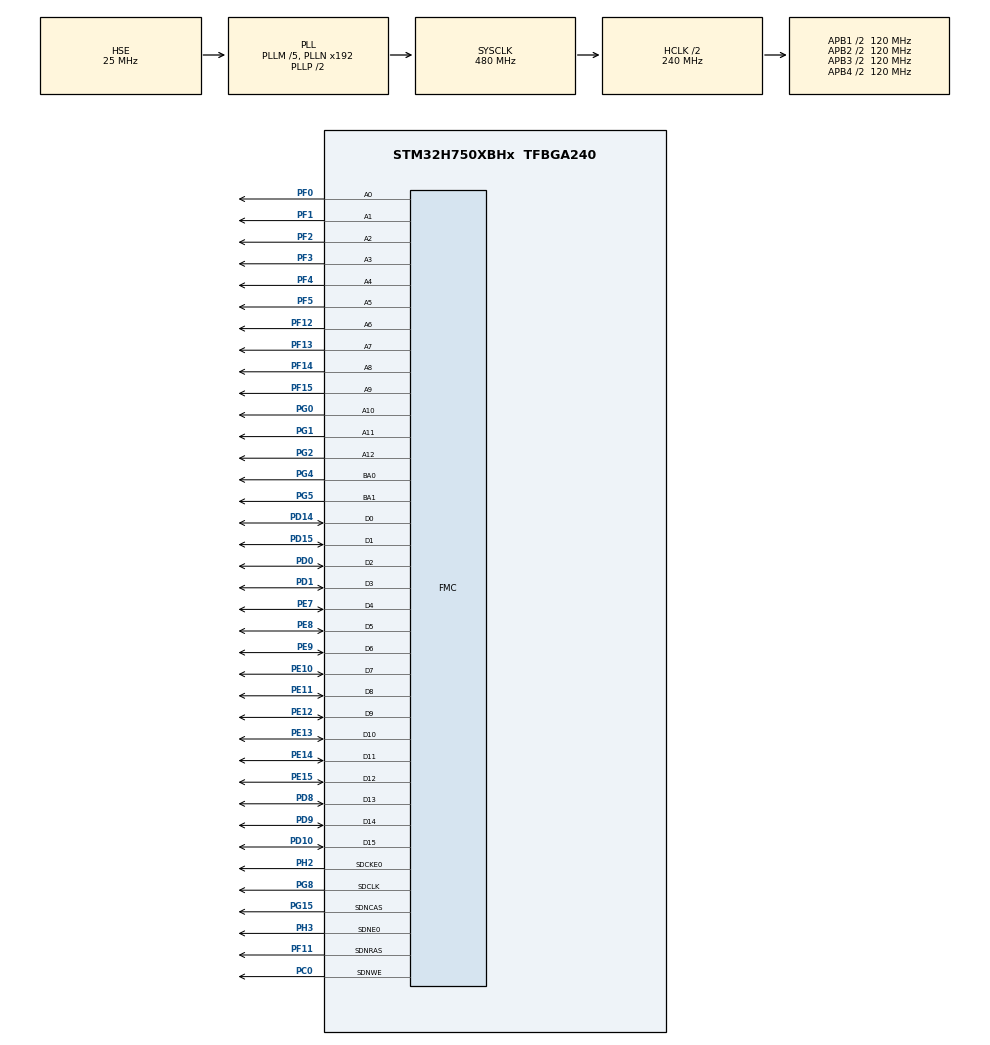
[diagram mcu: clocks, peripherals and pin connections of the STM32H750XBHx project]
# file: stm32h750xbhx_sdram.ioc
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CORTEX_M7.AccessPermission_Spec=MPU_REGION_FULL_ACCESS
CORTEX_M7.CPU_DCache=Enabled
CORTEX_M7.CPU_ICache=Enabled
CORTEX_M7.MPU_Control=MPU_HFNMI_PRIVDEF
CORTEX_M7.default_mode_Activation=1
FMC.CASLatency1=FMC_SDRAM_CAS_LATENCY_3
FMC.ColumnBitsNumber1=FMC_SDRAM_COLUMN_BITS_NUM_9
FMC.ExitSelfRefreshDelay1=7
FMC.LoadToActiveDelay1=2
FMC.RCDDelay1=2
FMC.RPDelay1=2
FMC.RPDelay2=2
FMC.ReadBurst1=FMC_SDRAM_RBURST_ENABLE
FMC.ReadBurst2=FMC_SDRAM_RBURST_ENABLE
FMC.ReadPipeDelay1=FMC_SDRAM_RPIPE_DELAY_1
FMC.RowCycleDelay1=7
FMC.RowCycleDelay2=7
FMC.SDClockPeriod1=FMC_SDRAM_CLOCK_PERIOD_2
FMC.SDClockPeriod2=FMC_SDRAM_CLOCK_PERIOD_2
FMC.SelfRefreshTime1=4
FMC.WriteRecoveryTime1=3
Mcu.Family=STM32H7
Mcu.Name=STM32H750XBHx
Mcu.Package=TFBGA240
NVIC.PriorityGroup=NVIC_PRIORITYGROUP_4
PC0.Signal=FMC_SDNWE
PD0.Signal=FMC_D2_DA2
PD1.Signal=FMC_D3_DA3
PD10.Signal=FMC_D15_DA15
PD14.Signal=FMC_D0_DA0
PD15.Signal=FMC_D1_DA1
PD8.Signal=FMC_D13_DA13
PD9.Signal=FMC_D14_DA14
PE10.Signal=FMC_D7_DA7
PE11.Signal=FMC_D8_DA8
PE12.Signal=FMC_D9_DA9
PE13.Signal=FMC_D10_DA10
PE14.Signal=FMC_D11_DA11
PE15.Signal=FMC_D12_DA12
PE7.Signal=FMC_D4_DA4
PE8.Signal=FMC_D5_DA5
PE9.Signal=FMC_D6_DA6
PF0.Signal=FMC_A0
PF1.Signal=FMC_A1
PF11.Signal=FMC_SDNRAS
PF12.Signal=FMC_A6
PF13.Signal=FMC_A7
PF14.Signal=FMC_A8
PF15.Signal=FMC_A9
PF2.Signal=FMC_A2
PF3.Signal=FMC_A3
PF4.Signal=FMC_A4
PF5.Signal=FMC_A5
PG0.Signal=FMC_A10
PG1.Signal=FMC_A11
PG15.Signal=FMC_SDNCAS
PG2.Signal=FMC_A12
PG4.Signal=FMC_A14_BA0
PG5.Signal=FMC_A15_BA1
PG8.Signal=FMC_SDCLK
PH0-OSC_IN\ (PH0).Mode=HSE-External-Oscillator
PH0-OSC_IN\ (PH0).Signal=RCC_OSC_IN
PH1-OSC_OUT\ (PH1).Mode=HSE-External-Oscillator
PH1-OSC_OUT\ (PH1).Signal=RCC_OSC_OUT
PH2.Mode=SdramChipSelect1_1
PH2.Signal=FMC_SDCKE0
PH3.Mode=SdramChipSelect1_1
PH3.Signal=FMC_SDNE0
ProjectManager.HeapSize=0x200
ProjectManager.StackSize=0x400
ProjectManager.TargetToolchain=STM32CubeIDE
RCC.ADCFreq_Value=50390625
RCC.APB1Freq_Value=120000000
RCC.APB2Freq_Value=120000000
RCC.APB3Freq_Value=120000000
RCC.APB4Freq_Value=120000000
RCC.CortexFreq_Value=480000000
RCC.D1PPRE=RCC_APB3_DIV2
RCC.D2PPRE1=RCC_APB1_DIV2
RCC.D2PPRE2=RCC_APB2_DIV2
RCC.D3PPRE=RCC_APB4_DIV2
RCC.DIVM1=5
RCC.DIVN1=192
RCC.HCLKFreq_Value=240000000
RCC.HPRE=RCC_HCLK_DIV2
RCC.PLL2FRACN=0
RCC.PLL3FRACN=0
RCC.PLLFRACN=0
RCC.PLLSourceVirtual=RCC_PLLSOURCE_HSE
RCC.SYSCLKFreq_VALUE=480000000
RCC.SYSCLKSource=RCC_SYSCLKSOURCE_PLLCLK
RCC.USBFreq_Value=480000000
SH.FMC_A0.0=FMC_A0,13b-sda1
SH.FMC_A1.0=FMC_A1,13b-sda1
SH.FMC_A10.0=FMC_A10,13b-sda1
SH.FMC_A11.0=FMC_A11,13b-sda1
SH.FMC_A12.0=FMC_A12,13b-sda1
SH.FMC_A14_BA0.0=FMC_BA0,FourSdramBanks1
SH.FMC_A15_BA1.0=FMC_BA1,FourSdramBanks1
SH.FMC_A2.0=FMC_A2,13b-sda1
SH.FMC_A3.0=FMC_A3,13b-sda1
SH.FMC_A4.0=FMC_A4,13b-sda1
SH.FMC_A5.0=FMC_A5,13b-sda1
SH.FMC_A6.0=FMC_A6,13b-sda1
SH.FMC_A7.0=FMC_A7,13b-sda1
SH.FMC_A8.0=FMC_A8,13b-sda1
SH.FMC_A9.0=FMC_A9,13b-sda1
SH.FMC_D0_DA0.0=FMC_D0,sd-16b-d1
SH.FMC_D10_DA10.0=FMC_D10,sd-16b-d1
SH.FMC_D11_DA11.0=FMC_D11,sd-16b-d1
SH.FMC_D12_DA12.0=FMC_D12,sd-16b-d1
SH.FMC_D13_DA13.0=FMC_D13,sd-16b-d1
SH.FMC_D14_DA14.0=FMC_D14,sd-16b-d1
SH.FMC_D15_DA15.0=FMC_D15,sd-16b-d1
SH.FMC_D1_DA1.0=FMC_D1,sd-16b-d1
SH.FMC_D2_DA2.0=FMC_D2,sd-16b-d1
SH.FMC_D3_DA3.0=FMC_D3,sd-16b-d1
SH.FMC_D4_DA4.0=FMC_D4,sd-16b-d1
SH.FMC_D5_DA5.0=FMC_D5,sd-16b-d1
SH.FMC_D6_DA6.0=FMC_D6,sd-16b-d1
SH.FMC_D7_DA7.0=FMC_D7,sd-16b-d1
SH.FMC_D8_DA8.0=FMC_D8,sd-16b-d1
SH.FMC_D9_DA9.0=FMC_D9,sd-16b-d1
SH.FMC_SDCLK.0=FMC_SDCLK,13b-sda1
SH.FMC_SDNCAS.0=FMC_SDNCAS,13b-sda1
SH.FMC_SDNRAS.0=FMC_SDNRAS,13b-sda1
SH.FMC_SDNWE.0=FMC_SDNWE,13b-sda1
VP_MEMORYMAP_VS_MEMORYMAP.Mode=CurAppReg
board=custom

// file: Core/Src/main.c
/* USER CODE BEGIN Header */
/**
  ******************************************************************************
  * @file           : main.c
  * @brief          : Main program body
  ******************************************************************************
  * @attention
  *
  * Copyright (c) 2026 STMicroelectronics.
  * All rights reserved.
  *
  * This software is licensed under terms that can be found in the LICENSE file
  * in the root directory of this software component.
  * If no LICENSE file comes with this software, it is provided AS-IS.
  *
  ******************************************************************************
  */
/* USER CODE END Header */
#include "main.h"

SDRAM_HandleTypeDef hsdram1;

void SystemClock_Config(void);
static void MPU_Config(void);
static void MX_GPIO_Init(void);
static void MX_FMC_Init(void);

int main(void)
{

  /* MPU Configuration--------------------------------------------------------*/
  MPU_Config();

  /* Enable the CPU Cache */

  /* Enable I-Cache---------------------------------------------------------*/
  SCB_EnableICache();

  /* Enable D-Cache---------------------------------------------------------*/
  SCB_EnableDCache();

  /* MCU Configuration--------------------------------------------------------*/

  /* Reset of all peripherals, Initializes the Flash interface and the Systick. */
  HAL_Init();

  /* Configure the system clock */
  SystemClock_Config();

  /* Initialize all configured peripherals */
  MX_GPIO_Init();
  MX_FMC_Init();
  /* USER CODE BEGIN 2 */
  char *c=(char *)0xC0000000;
  *c=0xf7;
  char b=*c;
  /* USER CODE END 2 */

  /* Infinite loop */
  while (1)
  {

  }
}

void SystemClock_Config(void)
{
  RCC_OscInitTypeDef RCC_OscInitStruct = {0};
  RCC_ClkInitTypeDef RCC_ClkInitStruct = {0};

  /** Supply configuration update enable
  */
  HAL_PWREx_ConfigSupply(PWR_LDO_SUPPLY);

  /** Configure the main internal regulator output voltage
  */
  __HAL_PWR_VOLTAGESCALING_CONFIG(PWR_REGULATOR_VOLTAGE_SCALE0);

  while(!__HAL_PWR_GET_FLAG(PWR_FLAG_VOSRDY)) {}

  /** Initializes the RCC Oscillators according to the specified parameters
  * in the RCC_OscInitTypeDef structure.
  */
  RCC_OscInitStruct.OscillatorType = RCC_OSCILLATORTYPE_HSE;
  RCC_OscInitStruct.HSEState = RCC_HSE_ON;
  RCC_OscInitStruct.PLL.PLLState = RCC_PLL_ON;
  RCC_OscInitStruct.PLL.PLLSource = RCC_PLLSOURCE_HSE;
  RCC_OscInitStruct.PLL.PLLM = 5;
  RCC_OscInitStruct.PLL.PLLN = 192;
  RCC_OscInitStruct.PLL.PLLP = 2;
  RCC_OscInitStruct.PLL.PLLQ = 2;
  RCC_OscInitStruct.PLL.PLLR = 2;
  RCC_OscInitStruct.PLL.PLLRGE = RCC_PLL1VCIRANGE_2;
  RCC_OscInitStruct.PLL.PLLVCOSEL = RCC_PLL1VCOWIDE;
  RCC_OscInitStruct.PLL.PLLFRACN = 0;
  if (HAL_RCC_OscConfig(&RCC_OscInitStruct) != HAL_OK)
  {
    Error_Handler();
  }

  /** Initializes the CPU, AHB and APB buses clocks
  */
  RCC_ClkInitStruct.ClockType = RCC_CLOCKTYPE_HCLK|RCC_CLOCKTYPE_SYSCLK
                              |RCC_CLOCKTYPE_PCLK1|RCC_CLOCKTYPE_PCLK2
                              |RCC_CLOCKTYPE_D3PCLK1|RCC_CLOCKTYPE_D1PCLK1;
  RCC_ClkInitStruct.SYSCLKSource = RCC_SYSCLKSOURCE_PLLCLK;
  RCC_ClkInitStruct.SYSCLKDivider = RCC_SYSCLK_DIV1;
  RCC_ClkInitStruct.AHBCLKDivider = RCC_HCLK_DIV2;
  RCC_ClkInitStruct.APB3CLKDivider = RCC_APB3_DIV2;
  RCC_ClkInitStruct.APB1CLKDivider = RCC_APB1_DIV2;
  RCC_ClkInitStruct.APB2CLKDivider = RCC_APB2_DIV2;
  RCC_ClkInitStruct.APB4CLKDivider = RCC_APB4_DIV2;

  if (HAL_RCC_ClockConfig(&RCC_ClkInitStruct, FLASH_LATENCY_4) != HAL_OK)
  {
    Error_Handler();
  }
}

/* FMC initialization function */
static void MX_FMC_Init(void)
{

  FMC_SDRAM_TimingTypeDef SdramTiming = {0};

  /** Perform the SDRAM1 memory initialization sequence
  */
  hsdram1.Instance = FMC_SDRAM_DEVICE;
  /* hsdram1.Init */
  hsdram1.Init.SDBank = FMC_SDRAM_BANK1;
  hsdram1.Init.ColumnBitsNumber = FMC_SDRAM_COLUMN_BITS_NUM_9;
  hsdram1.Init.RowBitsNumber = FMC_SDRAM_ROW_BITS_NUM_13;
  hsdram1.Init.MemoryDataWidth = FMC_SDRAM_MEM_BUS_WIDTH_16;
  hsdram1.Init.InternalBankNumber = FMC_SDRAM_INTERN_BANKS_NUM_4;
  hsdram1.Init.CASLatency = FMC_SDRAM_CAS_LATENCY_3;
  hsdram1.Init.WriteProtection = FMC_SDRAM_WRITE_PROTECTION_DISABLE;
  hsdram1.Init.SDClockPeriod = FMC_SDRAM_CLOCK_PERIOD_2;
  hsdram1.Init.ReadBurst = FMC_SDRAM_RBURST_ENABLE;
  hsdram1.Init.ReadPipeDelay = FMC_SDRAM_RPIPE_DELAY_1;
  /* SdramTiming */
  SdramTiming.LoadToActiveDelay = 2;
  SdramTiming.ExitSelfRefreshDelay = 7;
  SdramTiming.SelfRefreshTime = 4;
  SdramTiming.RowCycleDelay = 7;
  SdramTiming.WriteRecoveryTime = 3;
  SdramTiming.RPDelay = 2;
  SdramTiming.RCDDelay = 2;

  if (HAL_SDRAM_Init(&hsdram1, &SdramTiming) != HAL_OK)
  {
    Error_Handler( );
  }

  /* USER CODE BEGIN FMC_Init 2 */
  /* SDRAM (W9825G6) power-up command sequence. HAL_SDRAM_Init only sets up
     the FMC controller; the chip itself must still be initialized here. */
  FMC_SDRAM_CommandTypeDef command = {0};
  __IO uint32_t tmpmrd = 0;

  /* Step 1: Clock configuration enable */
  command.CommandMode            = FMC_SDRAM_CMD_CLK_ENABLE;
  command.CommandTarget          = FMC_SDRAM_CMD_TARGET_BANK1;
  command.AutoRefreshNumber      = 1;
  command.ModeRegisterDefinition = 0;
  HAL_SDRAM_SendCommand(&hsdram1, &command, 0xFFFF);
  HAL_Delay(1);

  /* Step 2: Precharge all banks (PALL) */
  command.CommandMode            = FMC_SDRAM_CMD_PALL;
  command.CommandTarget          = FMC_SDRAM_CMD_TARGET_BANK1;
  command.AutoRefreshNumber      = 1;
  command.ModeRegisterDefinition = 0;
  HAL_SDRAM_SendCommand(&hsdram1, &command, 0xFFFF);

  /* Step 3: Auto-refresh (8 cycles) */
  command.CommandMode            = FMC_SDRAM_CMD_AUTOREFRESH_MODE;
  command.CommandTarget          = FMC_SDRAM_CMD_TARGET_BANK1;
  command.AutoRefreshNumber      = 8;
  command.ModeRegisterDefinition = 0;
  HAL_SDRAM_SendCommand(&hsdram1, &command, 0xFFFF);

  /* Step 4: Load mode register
     burst length 2 | sequential | CAS latency 3 | standard | single write burst */
  tmpmrd = (uint32_t)(0x0001 | 0x0000 | 0x0030 | 0x0000 | 0x0200);
  command.CommandMode            = FMC_SDRAM_CMD_LOAD_MODE;
  command.CommandTarget          = FMC_SDRAM_CMD_TARGET_BANK1;
  command.AutoRefreshNumber      = 1;
  command.ModeRegisterDefinition = tmpmrd;
  HAL_SDRAM_SendCommand(&hsdram1, &command, 0xFFFF);

  /* Step 5: Program refresh rate
     COUNT = (SDRAM refresh period / number of rows) * SDRAM clock - 20 */
  HAL_SDRAM_ProgramRefreshRate(&hsdram1, 918);
  /* USER CODE END FMC_Init 2 */
}

static void MX_GPIO_Init(void)
{

  /* GPIO Ports Clock Enable */
  __HAL_RCC_GPIOG_CLK_ENABLE();
  __HAL_RCC_GPIOD_CLK_ENABLE();
  __HAL_RCC_GPIOF_CLK_ENABLE();
  __HAL_RCC_GPIOH_CLK_ENABLE();
  __HAL_RCC_GPIOC_CLK_ENABLE();
  __HAL_RCC_GPIOE_CLK_ENABLE();

}

 /* MPU Configuration */

void MPU_Config(void)
{
  MPU_Region_InitTypeDef MPU_InitStruct = {0};

  /* Disables the MPU */
  HAL_MPU_Disable();

  /** Initializes and configures the Region and the memory to be protected
  */
  MPU_InitStruct.Enable = MPU_REGION_ENABLE;
  MPU_InitStruct.Number = MPU_REGION_NUMBER0;
  MPU_InitStruct.BaseAddress = 0x0;
  MPU_InitStruct.Size = MPU_REGION_SIZE_4GB;
  MPU_InitStruct.SubRegionDisable = 0x87;
  MPU_InitStruct.TypeExtField = MPU_TEX_LEVEL0;
  MPU_InitStruct.AccessPermission = MPU_REGION_FULL_ACCESS;
  MPU_InitStruct.DisableExec = MPU_INSTRUCTION_ACCESS_DISABLE;
  MPU_InitStruct.IsShareable = MPU_ACCESS_SHAREABLE;
  MPU_InitStruct.IsCacheable = MPU_ACCESS_NOT_CACHEABLE;
  MPU_InitStruct.IsBufferable = MPU_ACCESS_NOT_BUFFERABLE;

  HAL_MPU_ConfigRegion(&MPU_InitStruct);
  /* Enables the MPU */
  HAL_MPU_Enable(MPU_HFNMI_PRIVDEF);

}

void Error_Handler(void)
{
  __disable_irq();
  while (1)
  {
  }
}
